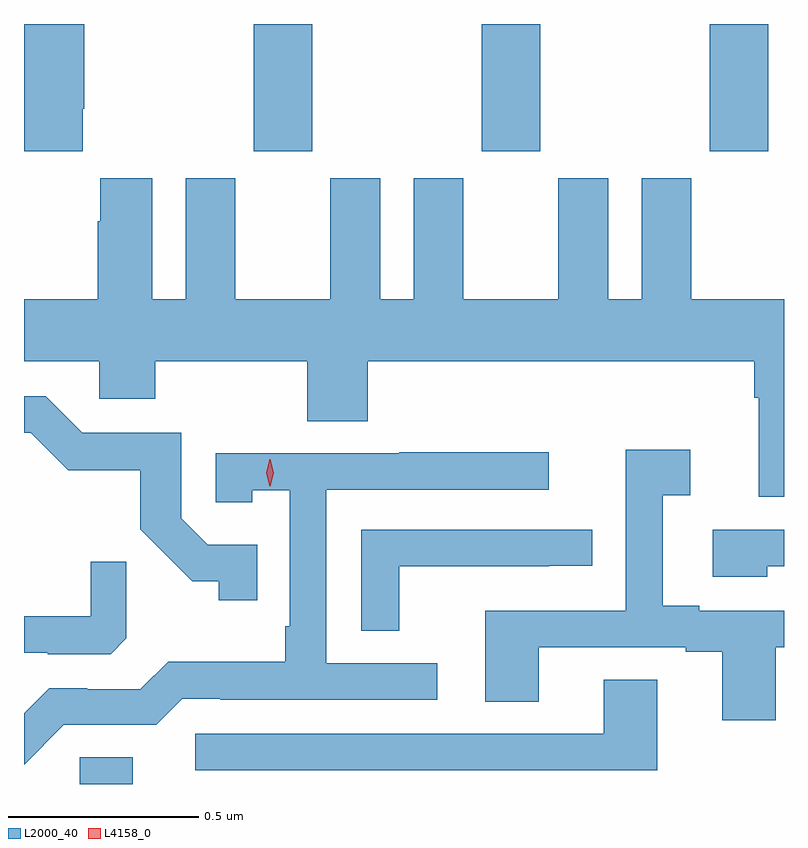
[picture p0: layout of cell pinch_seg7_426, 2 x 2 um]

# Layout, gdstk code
import gdstk
lib = gdstk.Library(unit=1e-6, precision=1e-09)
def R(c, l, rs):  # rectangles x0, y0, x1, y1
    for r in rs: c.add(gdstk.rectangle(r[:2], r[2:], *l))
def A(c, l, x, y, w, h, nx, ny, dx, dy):  # array of equal rectangles
    R(c, l, [(x+i*dx, y+j*dy, x+i*dx+w, y+j*dy+h) for i in range(nx) for j in range(ny)])
def P(c, l, *ps):  # polygons
    for p in ps: c.add(gdstk.Polygon(p, *l))
L2000_40 = (2000, 40)
L4158_0 = (4158, 0)

pinch_seg7_426 = lib.new_cell('pinch_seg7_426')
A(pinch_seg7_426, L2000_40, 538.039, 1014.489, 0.155, 0.335, 3, 1, 0.6, 0)
R(pinch_seg7_426, L2000_40, [(537.582,1012.824,537.721,1012.895)])
P(pinch_seg7_426, L2000_40, [(537.589,1014.601),(537.594,1014.601),(537.594,1014.824),(537.435,1014.824),(537.435,1014.489),(537.589,1014.489)],
  [(539.435,1014.1),(539.191,1014.1),(539.191,1014.418),(539.06,1014.418),(539.06,1014.1),(538.972,1014.1),(538.972,1014.418),(538.841,1014.418),(538.841,1014.1),(538.591,1014.1),(538.591,1014.418),(538.46,1014.418),(538.46,1014.1),(538.372,1014.1),(538.372,1014.418),(538.241,1014.418),(538.241,1014.1),(537.991,1014.1),(537.991,1014.418),(537.86,1014.418),(537.86,1014.1),(537.772,1014.1),(537.772,1014.418),(537.635,1014.418),(537.635,1014.305),(537.629,1014.305),(537.629,1014.1),(537.435,1014.1),(537.435,1013.936),(537.633,1013.936),(537.633,1013.838),(537.78,1013.838),(537.78,1013.936),(538.18,1013.936),(538.18,1013.779),(538.34,1013.779),(538.34,1013.936),(539.357,1013.936),(539.357,1013.84),(539.369,1013.84),(539.369,1013.58),(539.435,1013.58)],
  [(538.049,1013.454),(537.918,1013.454),(537.849,1013.523),(537.849,1013.748),(537.588,1013.748),(537.492,1013.844),(537.435,1013.844),(537.435,1013.748),(537.453,1013.748),(537.552,1013.65),(537.741,1013.65),(537.741,1013.494),(537.878,1013.357),(537.948,1013.357),(537.948,1013.307),(538.049,1013.307)],
  [(539.413,1013.184),(539.435,1013.184),(539.435,1013.28),(539.212,1013.28),(539.212,1013.293),(539.116,1013.293),(539.116,1013.584),(539.188,1013.584),(539.188,1013.704),(539.019,1013.704),(539.019,1013.28),(538.649,1013.28),(538.649,1013.041),(538.789,1013.041),(538.789,1013.184),(539.177,1013.184),(539.177,1013.172),(539.273,1013.172),(539.273,1012.992),(539.413,1012.992)],
  [(537.54,1012.98),(537.783,1012.98),(537.852,1013.049),(537.952,1013.049),(537.952,1013.046),(538.522,1013.046),(538.522,1013.142),(538.23,1013.142),(538.23,1013.598),(538.816,1013.598),(538.816,1013.697),(538.423,1013.697),(538.423,1013.694),(537.939,1013.694),(537.939,1013.565),(538.035,1013.565),(538.035,1013.597),(538.134,1013.597),(538.134,1013.239),(538.122,1013.239),(538.122,1013.146),(537.814,1013.146),(537.741,1013.073),(537.602,1013.073),(537.602,1013.076),(537.501,1013.076),(537.435,1013.01),(537.435,1012.875)],
  [(538.422,1013.397),(538.817,1013.397),(538.817,1013.398),(538.93,1013.398),(538.93,1013.493),(538.323,1013.493),(538.323,1013.227),(538.422,1013.227)],
  [(539.391,1013.397),(539.435,1013.397),(539.435,1013.493),(539.247,1013.493),(539.247,1013.369),(539.391,1013.369)],
  [(537.704,1013.207),(537.704,1013.409),(537.61,1013.409),(537.61,1013.266),(537.435,1013.266),(537.435,1013.169),(537.498,1013.169),(537.498,1013.166),(537.663,1013.166)],
  [(539.101,1013.099),(538.961,1013.099),(538.961,1012.956),(537.885,1012.956),(537.885,1012.86),(539.101,1012.86)])
P(pinch_seg7_426, L4158_0, [(538.082,1013.607),(538.082,1013.607),(538.072,1013.643),(538.082,1013.678),(538.082,1013.679),(538.083,1013.678),(538.092,1013.643),(538.083,1013.607)])

lib.write_gds('pinch_seg7_426.gds')
